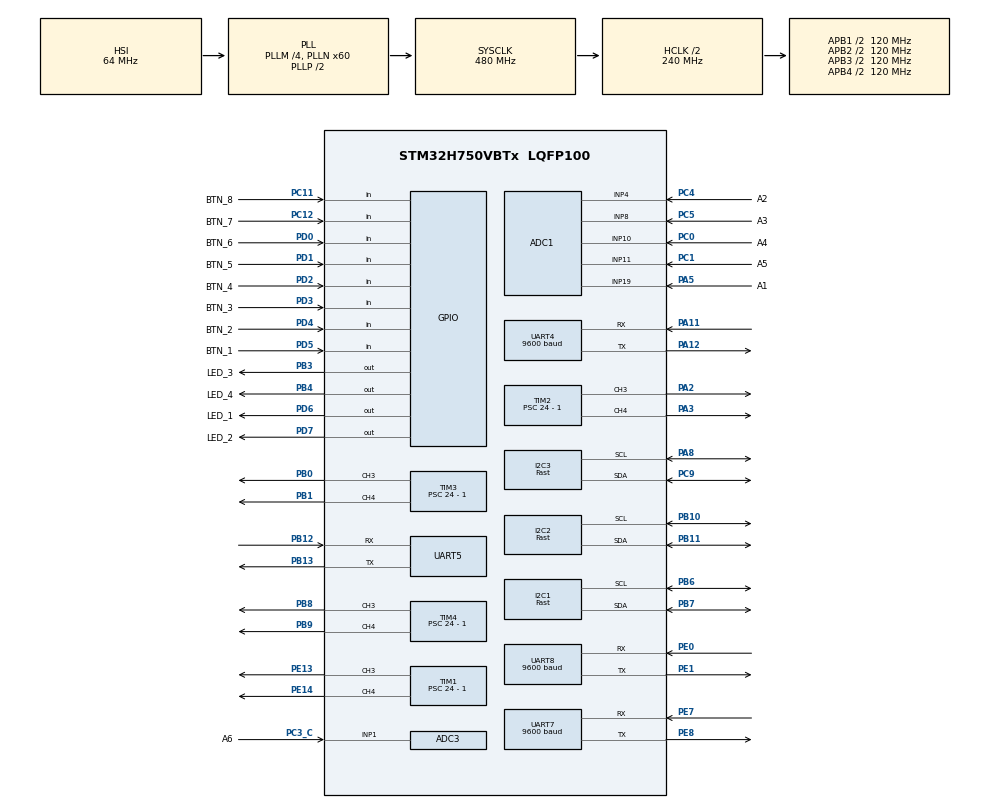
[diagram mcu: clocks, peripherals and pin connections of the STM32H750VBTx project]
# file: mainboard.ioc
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ADC1.Channel-2\#ChannelRegularConversion=ADC_CHANNEL_19
ADC1.Channel-3\#ChannelRegularConversion=ADC_CHANNEL_4
ADC1.Channel-4\#ChannelRegularConversion=ADC_CHANNEL_8
ADC1.Channel-5\#ChannelRegularConversion=ADC_CHANNEL_10
ADC1.Channel-6\#ChannelRegularConversion=ADC_CHANNEL_11
ADC1.ClockPrescaler=ADC_CLOCK_ASYNC_DIV4
ADC1.ContinuousConvMode=ENABLE
ADC1.ConversionDataManagement=ADC_CONVERSIONDATA_DMA_CIRCULAR
ADC1.NbrOfConversion=5
ADC1.NbrOfConversionFlag=1
ADC1.OffsetNumber-2\#ChannelRegularConversion=ADC_OFFSET_NONE
ADC1.OffsetNumber-3\#ChannelRegularConversion=ADC_OFFSET_NONE
ADC1.OffsetNumber-4\#ChannelRegularConversion=ADC_OFFSET_NONE
ADC1.OffsetNumber-5\#ChannelRegularConversion=ADC_OFFSET_NONE
ADC1.OffsetNumber-6\#ChannelRegularConversion=ADC_OFFSET_NONE
ADC1.OffsetSignedSaturation-2\#ChannelRegularConversion=DISABLE
ADC1.OffsetSignedSaturation-3\#ChannelRegularConversion=DISABLE
ADC1.OffsetSignedSaturation-4\#ChannelRegularConversion=DISABLE
ADC1.OffsetSignedSaturation-5\#ChannelRegularConversion=DISABLE
ADC1.OffsetSignedSaturation-6\#ChannelRegularConversion=DISABLE
ADC1.Overrun=ADC_OVR_DATA_PRESERVED
ADC1.Rank-2\#ChannelRegularConversion=1
ADC1.Rank-3\#ChannelRegularConversion=2
ADC1.Rank-4\#ChannelRegularConversion=3
ADC1.Rank-5\#ChannelRegularConversion=4
ADC1.Rank-6\#ChannelRegularConversion=5
ADC1.SamplingTime-2\#ChannelRegularConversion=ADC_SAMPLETIME_64CYCLES_5
ADC1.SamplingTime-3\#ChannelRegularConversion=ADC_SAMPLETIME_64CYCLES_5
ADC1.SamplingTime-4\#ChannelRegularConversion=ADC_SAMPLETIME_64CYCLES_5
ADC1.SamplingTime-5\#ChannelRegularConversion=ADC_SAMPLETIME_64CYCLES_5
ADC1.SamplingTime-6\#ChannelRegularConversion=ADC_SAMPLETIME_64CYCLES_5
ADC1.master=1
ADC3.Channel-2\#ChannelRegularConversion=ADC_CHANNEL_1
ADC3.ClockPrescaler=ADC_CLOCK_ASYNC_DIV4
ADC3.ContinuousConvMode=ENABLE
ADC3.ConversionDataManagement=ADC_CONVERSIONDATA_DR
ADC3.NbrOfConversionFlag=1
ADC3.OffsetNumber-2\#ChannelRegularConversion=ADC_OFFSET_NONE
ADC3.OffsetSignedSaturation-2\#ChannelRegularConversion=DISABLE
ADC3.Overrun=ADC_OVR_DATA_OVERWRITTEN
ADC3.Rank-2\#ChannelRegularConversion=1
ADC3.SamplingTime-2\#ChannelRegularConversion=ADC_SAMPLETIME_64CYCLES_5
CORTEX_M7.AccessPermission_S-Cortex_Memory_Protection_Unit_Region1_Settings_S=MPU_REGION_FULL_ACCESS
CORTEX_M7.BaseAddress_S-Cortex_Memory_Protection_Unit_Region1_Settings_S=0x30000000
CORTEX_M7.Enable_S-Cortex_Memory_Protection_Unit_Region1_Settings_S=MPU_REGION_ENABLE
CORTEX_M7.IsBufferable_S-Cortex_Memory_Protection_Unit_Region1_Settings_S=MPU_ACCESS_BUFFERABLE
CORTEX_M7.IsCacheable_S-Cortex_Memory_Protection_Unit_Region1_Settings_S=MPU_ACCESS_NOT_CACHEABLE
CORTEX_M7.IsShareable_S-Cortex_Memory_Protection_Unit_Region1_Settings_S=MPU_ACCESS_SHAREABLE
CORTEX_M7.MPU_Control=MPU_PRIVILEGED_DEFAULT
CORTEX_M7.Size_S-Cortex_Memory_Protection_Unit_Region1_Settings_S=MPU_REGION_SIZE_256B
CORTEX_M7.TypeExtField_S-Cortex_Memory_Protection_Unit_Region1_Settings_S=MPU_TEX_LEVEL1
CORTEX_M7.default_mode_Activation=1
Dma.ADC1.2.Direction=DMA_PERIPH_TO_MEMORY
Dma.ADC1.2.EventEnable=DISABLE
Dma.ADC1.2.FIFOMode=DMA_FIFOMODE_DISABLE
Dma.ADC1.2.Instance=DMA1_Stream2
Dma.ADC1.2.MemDataAlignment=DMA_MDATAALIGN_HALFWORD
Dma.ADC1.2.MemInc=DMA_MINC_ENABLE
Dma.ADC1.2.Mode=DMA_CIRCULAR
Dma.ADC1.2.PeriphDataAlignment=DMA_PDATAALIGN_HALFWORD
Dma.ADC1.2.PeriphInc=DMA_PINC_DISABLE
Dma.ADC1.2.Polarity=HAL_DMAMUX_REQ_GEN_RISING
Dma.ADC1.2.Priority=DMA_PRIORITY_LOW
Dma.ADC1.2.RequestNumber=1
Dma.ADC1.2.SignalID=NONE
Dma.ADC1.2.SyncEnable=DISABLE
Dma.ADC1.2.SyncPolarity=HAL_DMAMUX_SYNC_NO_EVENT
Dma.ADC1.2.SyncRequestNumber=1
Dma.ADC1.2.SyncSignalID=NONE
Dma.I2C3_RX.0.Direction=DMA_PERIPH_TO_MEMORY
Dma.I2C3_RX.0.EventEnable=DISABLE
Dma.I2C3_RX.0.FIFOMode=DMA_FIFOMODE_DISABLE
Dma.I2C3_RX.0.Instance=DMA1_Stream0
Dma.I2C3_RX.0.MemDataAlignment=DMA_MDATAALIGN_BYTE
Dma.I2C3_RX.0.MemInc=DMA_MINC_ENABLE
Dma.I2C3_RX.0.Mode=DMA_NORMAL
Dma.I2C3_RX.0.PeriphDataAlignment=DMA_PDATAALIGN_BYTE
Dma.I2C3_RX.0.PeriphInc=DMA_PINC_DISABLE
Dma.I2C3_RX.0.Polarity=HAL_DMAMUX_REQ_GEN_RISING
Dma.I2C3_RX.0.Priority=DMA_PRIORITY_LOW
Dma.I2C3_RX.0.RequestNumber=1
Dma.I2C3_RX.0.SignalID=NONE
Dma.I2C3_RX.0.SyncEnable=DISABLE
Dma.I2C3_RX.0.SyncPolarity=HAL_DMAMUX_SYNC_NO_EVENT
Dma.I2C3_RX.0.SyncRequestNumber=1
Dma.I2C3_RX.0.SyncSignalID=NONE
Dma.I2C3_TX.1.Direction=DMA_MEMORY_TO_PERIPH
Dma.I2C3_TX.1.EventEnable=DISABLE
Dma.I2C3_TX.1.FIFOMode=DMA_FIFOMODE_DISABLE
Dma.I2C3_TX.1.Instance=DMA1_Stream1
Dma.I2C3_TX.1.MemDataAlignment=DMA_MDATAALIGN_BYTE
Dma.I2C3_TX.1.MemInc=DMA_MINC_ENABLE
Dma.I2C3_TX.1.Mode=DMA_NORMAL
Dma.I2C3_TX.1.PeriphDataAlignment=DMA_PDATAALIGN_BYTE
Dma.I2C3_TX.1.PeriphInc=DMA_PINC_DISABLE
Dma.I2C3_TX.1.Polarity=HAL_DMAMUX_REQ_GEN_RISING
Dma.I2C3_TX.1.Priority=DMA_PRIORITY_LOW
Dma.I2C3_TX.1.RequestNumber=1
Dma.I2C3_TX.1.SignalID=NONE
Dma.I2C3_TX.1.SyncEnable=DISABLE
Dma.I2C3_TX.1.SyncPolarity=HAL_DMAMUX_SYNC_NO_EVENT
Dma.I2C3_TX.1.SyncRequestNumber=1
Dma.I2C3_TX.1.SyncSignalID=NONE
Dma.Request0=I2C3_RX
Dma.Request1=I2C3_TX
Dma.Request2=ADC1
Dma.Request3=UART8_RX
Dma.UART8_RX.3.Direction=DMA_PERIPH_TO_MEMORY
Dma.UART8_RX.3.EventEnable=DISABLE
Dma.UART8_RX.3.FIFOMode=DMA_FIFOMODE_DISABLE
Dma.UART8_RX.3.Instance=DMA1_Stream3
Dma.UART8_RX.3.MemDataAlignment=DMA_MDATAALIGN_BYTE
Dma.UART8_RX.3.MemInc=DMA_MINC_ENABLE
Dma.UART8_RX.3.Mode=DMA_NORMAL
Dma.UART8_RX.3.PeriphDataAlignment=DMA_PDATAALIGN_BYTE
Dma.UART8_RX.3.PeriphInc=DMA_PINC_DISABLE
Dma.UART8_RX.3.Polarity=HAL_DMAMUX_REQ_GEN_RISING
Dma.UART8_RX.3.Priority=DMA_PRIORITY_LOW
Dma.UART8_RX.3.RequestNumber=1
Dma.UART8_RX.3.SignalID=NONE
Dma.UART8_RX.3.SyncEnable=DISABLE
Dma.UART8_RX.3.SyncPolarity=HAL_DMAMUX_SYNC_NO_EVENT
Dma.UART8_RX.3.SyncRequestNumber=1
Dma.UART8_RX.3.SyncSignalID=NONE
I2C1.I2C_Speed_Mode=I2C_Fast
I2C1.Timing=0x00B03FDB
I2C2.I2C_Speed_Mode=I2C_Fast
I2C2.Timing=0x00B03FDB
I2C3.I2C_Speed_Mode=I2C_Fast
I2C3.Timing=0x00B03FDB
IWDG1.Prescaler=IWDG_PRESCALER_256
IWDG1.Reload=625
IWDG1.Window=4095
Mcu.Family=STM32H7
Mcu.Name=STM32H750VBTx
Mcu.Package=LQFP100
NVIC.ADC3_IRQn=true\:0\:0\:false\:false\:true\:true\:true\:true
NVIC.ADC_IRQn=true\:0\:0\:false\:false\:true\:true\:true\:true
NVIC.DMA1_Stream0_IRQn=true\:0\:0\:false\:false\:true\:false\:true\:true
NVIC.DMA1_Stream1_IRQn=true\:0\:0\:false\:false\:true\:false\:true\:true
NVIC.DMA1_Stream2_IRQn=true\:0\:0\:false\:false\:true\:false\:true\:true
NVIC.DMA1_Stream3_IRQn=true\:0\:0\:false\:false\:true\:false\:true\:true
NVIC.I2C1_ER_IRQn=true\:0\:0\:false\:false\:true\:true\:true\:true
NVIC.I2C1_EV_IRQn=true\:0\:0\:false\:false\:true\:true\:true\:true
NVIC.I2C3_ER_IRQn=true\:0\:0\:false\:false\:true\:true\:true\:true
NVIC.I2C3_EV_IRQn=true\:0\:0\:false\:false\:true\:true\:true\:true
NVIC.PriorityGroup=NVIC_PRIORITYGROUP_4
NVIC.TIM7_IRQn=true\:1\:0\:true\:false\:true\:true\:true\:true
NVIC.UART8_IRQn=true\:0\:0\:false\:false\:true\:true\:true\:true
PA11.Mode=Asynchronous
PA11.Signal=UART4_RX
PA12.Mode=Asynchronous
PA12.Signal=UART4_TX
PA13\ (JTMS/SWDIO).Mode=Serial_Wire
PA13\ (JTMS/SWDIO).Signal=DEBUG_JTMS-SWDIO
PA14\ (JTCK/SWCLK).Mode=Serial_Wire
PA14\ (JTCK/SWCLK).Signal=DEBUG_JTCK-SWCLK
PA2.Signal=S_TIM2_CH3
PA3.Signal=S_TIM2_CH4
PA5.GPIO_Label=A1
PA5.Signal=ADCx_INP19
PA8.Mode=I2C
PA8.Signal=I2C3_SCL
PB0.PinAttribute=Free
PB0.Signal=S_TIM3_CH3
PB1.Signal=S_TIM3_CH4
PB10.Mode=I2C
PB10.Signal=I2C2_SCL
PB11.Mode=I2C
PB11.Signal=I2C2_SDA
PB12.Mode=Asynchronous
PB12.Signal=UART5_RX
PB13.Mode=Asynchronous
PB13.Signal=UART5_TX
PB3\ (JTDO/TRACESWO).GPIO_Label=LED_3
PB3\ (JTDO/TRACESWO).Signal=GPIO_Output
PB4\ (NJTRST).GPIO_Label=LED_4
PB4\ (NJTRST).Signal=GPIO_Output
PB6.Mode=I2C
PB6.Signal=I2C1_SCL
PB7.Mode=I2C
PB7.Signal=I2C1_SDA
PB8.Signal=S_TIM4_CH3
PB9.Signal=S_TIM4_CH4
PC0.GPIO_Label=A4
PC0.Signal=ADCx_INP10
PC1.GPIO_Label=A5
PC1.Signal=ADCx_INP11
PC11.GPIO_Label=BTN_8
PC11.Signal=GPIO_Input
PC12.GPIO_Label=BTN_7
PC12.Signal=GPIO_Input
PC3_C.GPIO_Label=A6
PC3_C.Mode=IN1-Single-Ended
PC3_C.Signal=ADC3_INP1
PC4.GPIO_Label=A2
PC4.Signal=ADCx_INP4
PC5.GPIO_Label=A3
PC5.Signal=ADCx_INP8
PC9.Mode=I2C
PC9.Signal=I2C3_SDA
PD0.GPIO_Label=BTN_6
PD0.Signal=GPIO_Input
PD1.GPIO_Label=BTN_5
PD1.Signal=GPIO_Input
PD2.GPIO_Label=BTN_4
PD2.Signal=GPIO_Input
PD3.GPIO_Label=BTN_3
PD3.Signal=GPIO_Input
PD4.GPIO_Label=BTN_2
PD4.Signal=GPIO_Input
PD5.GPIO_Label=BTN_1
PD5.Signal=GPIO_Input
PD6.GPIO_Label=LED_1
PD6.Signal=GPIO_Output
PD7.GPIO_Label=LED_2
PD7.Signal=GPIO_Output
PE0.Mode=Asynchronous
PE0.Signal=UART8_RX
PE1.Mode=Asynchronous
PE1.Signal=UART8_TX
PE13.Signal=S_TIM1_CH3
PE14.Signal=S_TIM1_CH4
PE7.Mode=Asynchronous
PE7.Signal=UART7_RX
PE8.Mode=Asynchronous
PE8.Signal=UART7_TX
PH0-OSC_IN\ (PH0).Mode=HSE-External-Oscillator
PH0-OSC_IN\ (PH0).PinAttribute=Free
PH0-OSC_IN\ (PH0).Signal=RCC_OSC_IN
PH1-OSC_OUT\ (PH1).Mode=HSE-External-Oscillator
PH1-OSC_OUT\ (PH1).PinAttribute=Free
PH1-OSC_OUT\ (PH1).Signal=RCC_OSC_OUT
ProjectManager.HeapSize=0x200
ProjectManager.StackSize=0x400
ProjectManager.TargetToolchain=CMake
RCC.ADCFreq_Value=80000000
RCC.APB1Freq_Value=120000000
RCC.APB2Freq_Value=120000000
RCC.APB3Freq_Value=120000000
RCC.APB4Freq_Value=120000000
RCC.CortexFreq_Value=480000000
RCC.D1PPRE=RCC_APB3_DIV2
RCC.D2PPRE1=RCC_APB1_DIV2
RCC.D2PPRE2=RCC_APB2_DIV2
RCC.D3PPRE=RCC_APB4_DIV2
RCC.DIVM1=4
RCC.DIVM2=4
RCC.DIVN1=60
RCC.DIVN2=10
RCC.FLatency-AdvancedSettings=FLASH_LATENCY_0
RCC.HCLKFreq_Value=240000000
RCC.HPRE=RCC_HCLK_DIV2
RCC.HSE_VALUE=48000000
RCC.PLL1_VCI_Range-AdvancedSettings=RCC_PLL1VCIRANGE_1
RCC.PLL1_VCO_SEL-AdvancedSettings=RCC_PLL1VCOMEDIUM
RCC.PLL2FRACN=0
RCC.PLL2_VCI_Range-AdvancedSettings=RCC_PLL2VCIRANGE_0
RCC.PLL3_VCI_Range-AdvancedSettings=RCC_PLL3VCIRANGE_0
RCC.PLLFRACN=0
RCC.SYSCLKFreq_VALUE=480000000
RCC.SYSCLKSource=RCC_SYSCLKSOURCE_PLLCLK
RCC.USBFreq_Value=480000000
SH.ADCx_INP10.0=ADC1_INP10,IN10-Single-Ended
SH.ADCx_INP11.0=ADC1_INP11,IN11-Single-Ended
SH.ADCx_INP19.0=ADC1_INP19,IN19-Single-Ended
SH.ADCx_INP4.0=ADC1_INP4,IN4-Single-Ended
SH.ADCx_INP8.0=ADC1_INP8,IN8-Single-Ended
SH.S_TIM1_CH3.0=TIM1_CH3,PWM Generation3 CH3
SH.S_TIM1_CH4.0=TIM1_CH4,PWM Generation4 CH4
SH.S_TIM2_CH3.0=TIM2_CH3,PWM Generation3 CH3
SH.S_TIM2_CH4.0=TIM2_CH4,PWM Generation4 CH4
SH.S_TIM3_CH3.0=TIM3_CH3,PWM Generation3 CH3
SH.S_TIM3_CH4.0=TIM3_CH4,PWM Generation4 CH4
SH.S_TIM4_CH3.0=TIM4_CH3,PWM Generation3 CH3
SH.S_TIM4_CH4.0=TIM4_CH4,PWM Generation4 CH4
TIM1.AutoReloadPreload=TIM_AUTORELOAD_PRELOAD_ENABLE
TIM1.Channel-PWM\ Generation3\ CH3=TIM_CHANNEL_3
TIM1.Channel-PWM\ Generation4\ CH4=TIM_CHANNEL_4
TIM1.Period=1000 - 1
TIM1.Prescaler=24 - 1
TIM2.AutoReloadPreload=TIM_AUTORELOAD_PRELOAD_ENABLE
TIM2.Channel-PWM\ Generation3\ CH3=TIM_CHANNEL_3
TIM2.Channel-PWM\ Generation4\ CH4=TIM_CHANNEL_4
TIM2.Period=1000 - 1
TIM2.Prescaler=24 - 1
TIM3.AutoReloadPreload=TIM_AUTORELOAD_PRELOAD_ENABLE
TIM3.Channel-PWM\ Generation3\ CH3=TIM_CHANNEL_3
TIM3.Channel-PWM\ Generation4\ CH4=TIM_CHANNEL_4
TIM3.Period=1000 - 1
TIM3.Prescaler=24 - 1
TIM4.AutoReloadPreload=TIM_AUTORELOAD_PRELOAD_ENABLE
TIM4.Channel-PWM\ Generation3\ CH3=TIM_CHANNEL_3
TIM4.Channel-PWM\ Generation4\ CH4=TIM_CHANNEL_4
TIM4.Period=1000 - 1
TIM4.Prescaler=24 - 1
TIM7.AutoReloadPreload=TIM_AUTORELOAD_PRELOAD_ENABLE
TIM7.Period=100 - 1
TIM7.Prescaler=24000 - 1
UART4.BaudRate=9600
UART7.BaudRate=9600
UART8.BaudRate=9600
VP_IWDG1_VS_IWDG.Mode=IWDG_Activate
VP_MEMORYMAP_VS_MEMORYMAP.Mode=CurAppReg
VP_TIM1_VS_ClockSourceINT.Mode=Internal
VP_TIM2_VS_ClockSourceINT.Mode=Internal
VP_TIM3_VS_ClockSourceINT.Mode=Internal
VP_TIM4_VS_ClockSourceINT.Mode=Internal
VP_TIM7_VS_ClockSourceINT.Mode=Enable_Timer
board=custom

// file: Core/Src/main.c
/* USER CODE BEGIN Header */
/**
 ******************************************************************************
 * @file           : main.c
 * @brief          : Main program body
 ******************************************************************************
 * @attention
 *
 * Copyright (c) 2025 STMicroelectronics.
 * All rights reserved.
 *
 * This software is licensed under terms that can be found in the LICENSE file
 * in the root directory of this software component.
 * If no LICENSE file comes with this software, it is provided AS-IS.
 *
 ******************************************************************************
 */
/* USER CODE END Header */
#include "main.h"
#include "adc.h"
#include "dma.h"
#include "i2c.h"
#include "iwdg.h"
#include "tim.h"
#include "usart.h"
#include "gpio.h"

/* USER CODE BEGIN Includes */
#include <stdio.h>

// Modules' headers
#include "ir.h"
#include "cam.h"
#include "motors.h"
#include "button.h"
#include "xsound.h"
#include "grayscale.h"
#include "MPU6050DMP.h"
#include "dataPrint.h"
#include "soccer.h"
#include "const.h"
#include "led.h"
/* USER CODE END Includes */

void SystemClock_Config(void);
void PeriphCommonClock_Config(void);
static void MPU_Config(void);

/* USER CODE BEGIN 0 */

/**
  * @brief  Jump to system bootloader
  * @note   This function will jump to the STM32 system bootloader
  *         For STM32H750, bootloader is located at 0x1FF09800
  * @retval None
  */
void JumpToBootloader(void)
{
  /* Define bootloader address for STM32H750 */
  #define BOOTLOADER_ADDRESS 0x1FF09800

  void (*SysMemBootJump)(void);

  /* Disable all interrupts */
  __disable_irq();

  /* Disable SysTick */
  SysTick->CTRL = 0;
  SysTick->LOAD = 0;
  SysTick->VAL = 0;

  /* Disable GPIOD clock that was enabled for button check */
  RCC->AHB4ENR &= ~RCC_AHB4ENR_GPIODEN;

  /* Disable and clean data cache */
  #if (__DCACHE_PRESENT == 1U)
  SCB_DisableDCache();
  #endif

  /* Disable and invalidate instruction cache */
  #if (__ICACHE_PRESENT == 1U)
  SCB_DisableICache();
  SCB_InvalidateICache();
  #endif

  /* Disable MPU */
  HAL_MPU_Disable();

  /* Clear all interrupt enable registers & pending interrupts */
  for (uint32_t i = 0; i < 8; i++)
  {
    NVIC->ICER[i] = 0xFFFFFFFF;  /* Disable all interrupts */
    NVIC->ICPR[i] = 0xFFFFFFFF;  /* Clear all pending interrupts */
  }

  /* Reset all interrupt priorities */
  for (uint32_t i = 0; i < 8; i++)
  {
    NVIC->IP[i] = 0x00000000;
  }

  /* Reset vector table offset register */
  SCB->VTOR = 0x00000000;

  /* Set main stack pointer to bootloader's initial stack pointer */
  __set_MSP(*(uint32_t *)BOOTLOADER_ADDRESS);

  /* Get bootloader reset handler address */
  SysMemBootJump = (void (*)(void)) (*((uint32_t *)(BOOTLOADER_ADDRESS + 4)));

  /* Enable all interrupts before jumping */
  __enable_irq();

  /* Call the bootloader reset handler */
  SysMemBootJump();

  /* Jump is done successfully, this should not be reached */
  while (1);
}

/* USER CODE END 0 */

int main(void)
{

  /* USER CODE BEGIN 1 */
  /* Power-on delay to allow capacitors to stabilize */
  for(volatile uint32_t i = 0; i < POWER_ON_DELAY_CYCLES; i++);
  /* USER CODE END 1 */

  /* MPU Configuration--------------------------------------------------------*/
  MPU_Config();

  /* MCU Configuration--------------------------------------------------------*/

  /* Reset of all peripherals, Initializes the Flash interface and the Systick. */
  HAL_Init();

  /* Configure the system clock */
  SystemClock_Config();

  /* Configure the peripherals common clocks */
  PeriphCommonClock_Config();

  /* Initialize all configured peripherals */
  MX_GPIO_Init();
  MX_DMA_Init();
  MX_I2C2_Init();
  MX_I2C3_Init();
  MX_UART4_Init();
  MX_UART5_Init();
  MX_UART7_Init();
  MX_UART8_Init();
  MX_ADC1_Init();
  MX_ADC3_Init();
  MX_TIM1_Init();
  MX_TIM2_Init();
  MX_TIM3_Init();
  MX_TIM4_Init();
  MX_TIM7_Init();
  // MX_IWDG1_Init();
  MX_I2C1_Init();
  /* USER CODE BEGIN 2 */
  /* Initialize status LEDs */
  LED_SetAll(true);

  /* Initialize application modules */
  dataUart_Init(&huart4); /* UART for data output */

  HAL_Delay(I2C_INIT_DELAY_MS); // wait 10ms

  grayscaleInit(); /* Initialize grayscale sensors */

  /* Initialize I2C bus manager for shared I2C3 peripheral */
  I2C_BusManager_t i2c3_bus;
  I2C_Bus_Init(&i2c3_bus, &hi2c3);

  /* Initialize IR sensor module with I2C peripheral */
  IR_Init(&hi2c3);

  /* Initialize Xsound sensor module with I2C peripheral */
  Xsound_Init(&hi2c3);

  /* Initialize Camera module with UART peripheral */
  cam_init(&huart8);

  /* Initialize MPU6050 with retry loop */
  uint16_t addr = 0x68;     // mpu6050
  int result = -1;
  while (result != 0) {
    if (I2C_Find(&MPU6050_I2C_HANDLE, addr)) {
      result = MPU6050_DMP_Init();
      if (result != 0) {
        #ifdef DEBUG_MPU6050_DMP
        printf("MPU6050 DMP Init failed (retrying), Status=0x%X\r\n", result);
        #endif
        HAL_Delay(MPU6050_INIT_RETRY_DELAY_MS);  // Wait before retry
      }
    } else {
      #ifdef DEBUG_MPU6050_DMP
      printf("MPU6050 not found (retrying)\r\n");
      #endif
      HAL_Delay(MPU6050_INIT_RETRY_DELAY_MS);  // Wait before retry
    }
    HAL_IWDG_Refresh(&hiwdg1);  // Refresh watchdog during init
  }
  #ifdef DEBUG_MPU6050_DMP
  printf("MPU6050 initialized successfully!\r\n");
  #endif

  /* Create module data struct once */
  static ModuleData_t moduleData;
  moduleData.irData = IR_GetData();
  moduleData.camData = Cam_GetData();
  moduleData.xsoundData = Xsound_GetData();
  moduleData.mpuData = MPU6050DMP_GetData();
  moduleData.grayscaleData = Grayscale_GetData();

  /* Initialize button module */
  Button_Init();
  #ifdef DEBUG_BUTTON
  Button_SetButtonName(0, "START_BTN");
  Button_SetButtonName(1, "STOP_BTN");
  Button_SetButtonName(2, "RESET_YAW_BTN");
  Button_SetButtonName(3, "GS_SCAN_BTN");
  #endif
  HAL_TIM_Base_Start_IT(&htim7);

  /* Initialize motor control */
  Mtrs_Init();

  /* Initialize soccer control logic */
  // SoccerInit(MODE_DEFENSIVE);    // Defense Mode
  SoccerInit(MODE_OFFENSIVE); // Attack Mode

  /* Check for IWDG reset - auto-start system if reset occurred */
  if (__HAL_RCC_GET_FLAG(RCC_FLAG_IWDG1RST)) {
    /* IWDG reset detected - auto-start system */
    __HAL_RCC_CLEAR_RESET_FLAGS();
    dataUart_SendString("IWDG Reset Detected - Auto Starting System\r\n");
    Soccer_StartSystem();
    LED_Set(LED_4, true);
  } else {
    /* Normal startup - wait for button press */
    Soccer_WaitForStart();
  }

  /* Initialize timing variables */
  uint32_t lastLedToggleTime = HAL_GetTick();
  /* USER CODE END 2 */

  /* Infinite loop */
  /* USER CODE BEGIN WHILE */
  while (1) {
    // Refresh watchdog to prevent reset
    HAL_IWDG_Refresh(&hiwdg1);

    // Heartbeat LED flash to indicate system is alive
    LED_HeartbeatTick(LED_2, &lastLedToggleTime, HAL_GetTick(), LED_HEARTBEAT_MS);

    /* Update all sensor data */
    updateData();

    // /* Process data in soccer module */
    SoccerProcess(&moduleData);
    /* USER CODE END WHILE */

    /* USER CODE BEGIN 3 */

    /* Debug prints for sensor data - enable as needed */
    // dataUart_PrintIRData(moduleData.irData);
    // dataUart_PrintXsoundData(moduleData.xsoundData);
    // dataUart_PrintGrayscaleData(moduleData.grayscaleData);
    dataUart_PrintGrayscaleLineInfo(Grayscale_GetLineInfo());
    // dataUart_PrintCamData(moduleData.camData);
    // dataUart_PrintMPU6050Euler(moduleData.mpuData);

    // i2c scan
    // uint16_t addrFound = 0;
    // I2C_HandleTypeDef testI2C = hi2c3;  // Use I2C3 for scanning
    // for (uint16_t addr = 1; addr < 128; addr++) {
    //   if (I2C_Find(&testI2C, addr)) {
    //     addrFound = addr;
    //   }
    // }
    // if (addrFound == 0) {
    //   printf("No I2C devices found on i2c3\r\n");
    // }

    // Test: Move right at half speed
    // polarMove(90, 50);
  }
  /* USER CODE END 3 */
}

void SystemClock_Config(void)
{
  RCC_OscInitTypeDef RCC_OscInitStruct = {0};
  RCC_ClkInitTypeDef RCC_ClkInitStruct = {0};

  /** Supply configuration update enable
  */
  HAL_PWREx_ConfigSupply(PWR_LDO_SUPPLY);

  /** Configure the main internal regulator output voltage
  */
  __HAL_PWR_VOLTAGESCALING_CONFIG(PWR_REGULATOR_VOLTAGE_SCALE0);

  while(!__HAL_PWR_GET_FLAG(PWR_FLAG_VOSRDY)) {}

  /** Initializes the RCC Oscillators according to the specified parameters
  * in the RCC_OscInitTypeDef structure.
  */
  RCC_OscInitStruct.OscillatorType = RCC_OSCILLATORTYPE_HSI|RCC_OSCILLATORTYPE_LSI;
  RCC_OscInitStruct.HSIState = RCC_HSI_DIV1;
  RCC_OscInitStruct.HSICalibrationValue = RCC_HSICALIBRATION_DEFAULT;
  RCC_OscInitStruct.LSIState = RCC_LSI_ON;
  RCC_OscInitStruct.PLL.PLLState = RCC_PLL_ON;
  RCC_OscInitStruct.PLL.PLLSource = RCC_PLLSOURCE_HSI;
  RCC_OscInitStruct.PLL.PLLM = 4;
  RCC_OscInitStruct.PLL.PLLN = 60;
  RCC_OscInitStruct.PLL.PLLP = 2;
  RCC_OscInitStruct.PLL.PLLQ = 2;
  RCC_OscInitStruct.PLL.PLLR = 2;
  RCC_OscInitStruct.PLL.PLLRGE = RCC_PLL1VCIRANGE_3;
  RCC_OscInitStruct.PLL.PLLVCOSEL = RCC_PLL1VCOWIDE;
  RCC_OscInitStruct.PLL.PLLFRACN = 0;
  if (HAL_RCC_OscConfig(&RCC_OscInitStruct) != HAL_OK)
  {
    Error_Handler();
  }

  /** Initializes the CPU, AHB and APB buses clocks
  */
  RCC_ClkInitStruct.ClockType = RCC_CLOCKTYPE_HCLK|RCC_CLOCKTYPE_SYSCLK
                              |RCC_CLOCKTYPE_PCLK1|RCC_CLOCKTYPE_PCLK2
                              |RCC_CLOCKTYPE_D3PCLK1|RCC_CLOCKTYPE_D1PCLK1;
  RCC_ClkInitStruct.SYSCLKSource = RCC_SYSCLKSOURCE_PLLCLK;
  RCC_ClkInitStruct.SYSCLKDivider = RCC_SYSCLK_DIV1;
  RCC_ClkInitStruct.AHBCLKDivider = RCC_HCLK_DIV2;
  RCC_ClkInitStruct.APB3CLKDivider = RCC_APB3_DIV2;
  RCC_ClkInitStruct.APB1CLKDivider = RCC_APB1_DIV2;
  RCC_ClkInitStruct.APB2CLKDivider = RCC_APB2_DIV2;
  RCC_ClkInitStruct.APB4CLKDivider = RCC_APB4_DIV2;

  if (HAL_RCC_ClockConfig(&RCC_ClkInitStruct, FLASH_LATENCY_4) != HAL_OK)
  {
    Error_Handler();
  }
}

void PeriphCommonClock_Config(void)
{
  RCC_PeriphCLKInitTypeDef PeriphClkInitStruct = {0};

  /** Initializes the peripherals clock
  */
  PeriphClkInitStruct.PeriphClockSelection = RCC_PERIPHCLK_ADC;
  PeriphClkInitStruct.PLL2.PLL2M = 4;
  PeriphClkInitStruct.PLL2.PLL2N = 10;
  PeriphClkInitStruct.PLL2.PLL2P = 2;
  PeriphClkInitStruct.PLL2.PLL2Q = 2;
  PeriphClkInitStruct.PLL2.PLL2R = 2;
  PeriphClkInitStruct.PLL2.PLL2RGE = RCC_PLL2VCIRANGE_3;
  PeriphClkInitStruct.PLL2.PLL2VCOSEL = RCC_PLL2VCOMEDIUM;
  PeriphClkInitStruct.PLL2.PLL2FRACN = 0;
  PeriphClkInitStruct.AdcClockSelection = RCC_ADCCLKSOURCE_PLL2;
  if (HAL_RCCEx_PeriphCLKConfig(&PeriphClkInitStruct) != HAL_OK)
  {
    Error_Handler();
  }
}

 /* MPU Configuration */

void MPU_Config(void)
{
  MPU_Region_InitTypeDef MPU_InitStruct = {0};

  /* Disables the MPU */
  HAL_MPU_Disable();

  /** Initializes and configures the Region and the memory to be protected
  */
  MPU_InitStruct.Enable = MPU_REGION_ENABLE;
  MPU_InitStruct.Number = MPU_REGION_NUMBER0;
  MPU_InitStruct.BaseAddress = 0x0;
  MPU_InitStruct.Size = MPU_REGION_SIZE_4GB;
  MPU_InitStruct.SubRegionDisable = 0x87;
  MPU_InitStruct.TypeExtField = MPU_TEX_LEVEL0;
  MPU_InitStruct.AccessPermission = MPU_REGION_NO_ACCESS;
  MPU_InitStruct.DisableExec = MPU_INSTRUCTION_ACCESS_DISABLE;
  MPU_InitStruct.IsShareable = MPU_ACCESS_SHAREABLE;
  MPU_InitStruct.IsCacheable = MPU_ACCESS_NOT_CACHEABLE;
  MPU_InitStruct.IsBufferable = MPU_ACCESS_NOT_BUFFERABLE;

  HAL_MPU_ConfigRegion(&MPU_InitStruct);

  /** Initializes and configures the Region and the memory to be protected
  */
  MPU_InitStruct.Number = MPU_REGION_NUMBER1;
  MPU_InitStruct.BaseAddress = 0x30000000;
  MPU_InitStruct.Size = MPU_REGION_SIZE_256B;
  MPU_InitStruct.SubRegionDisable = 0x0;
  MPU_InitStruct.TypeExtField = MPU_TEX_LEVEL1;
  MPU_InitStruct.AccessPermission = MPU_REGION_FULL_ACCESS;
  MPU_InitStruct.DisableExec = MPU_INSTRUCTION_ACCESS_ENABLE;
  MPU_InitStruct.IsBufferable = MPU_ACCESS_BUFFERABLE;

  HAL_MPU_ConfigRegion(&MPU_InitStruct);
  /* Enables the MPU */
  HAL_MPU_Enable(MPU_PRIVILEGED_DEFAULT);

}

void Error_Handler(void)
{
  __disable_irq();
  while (1)
  {
  }
}
